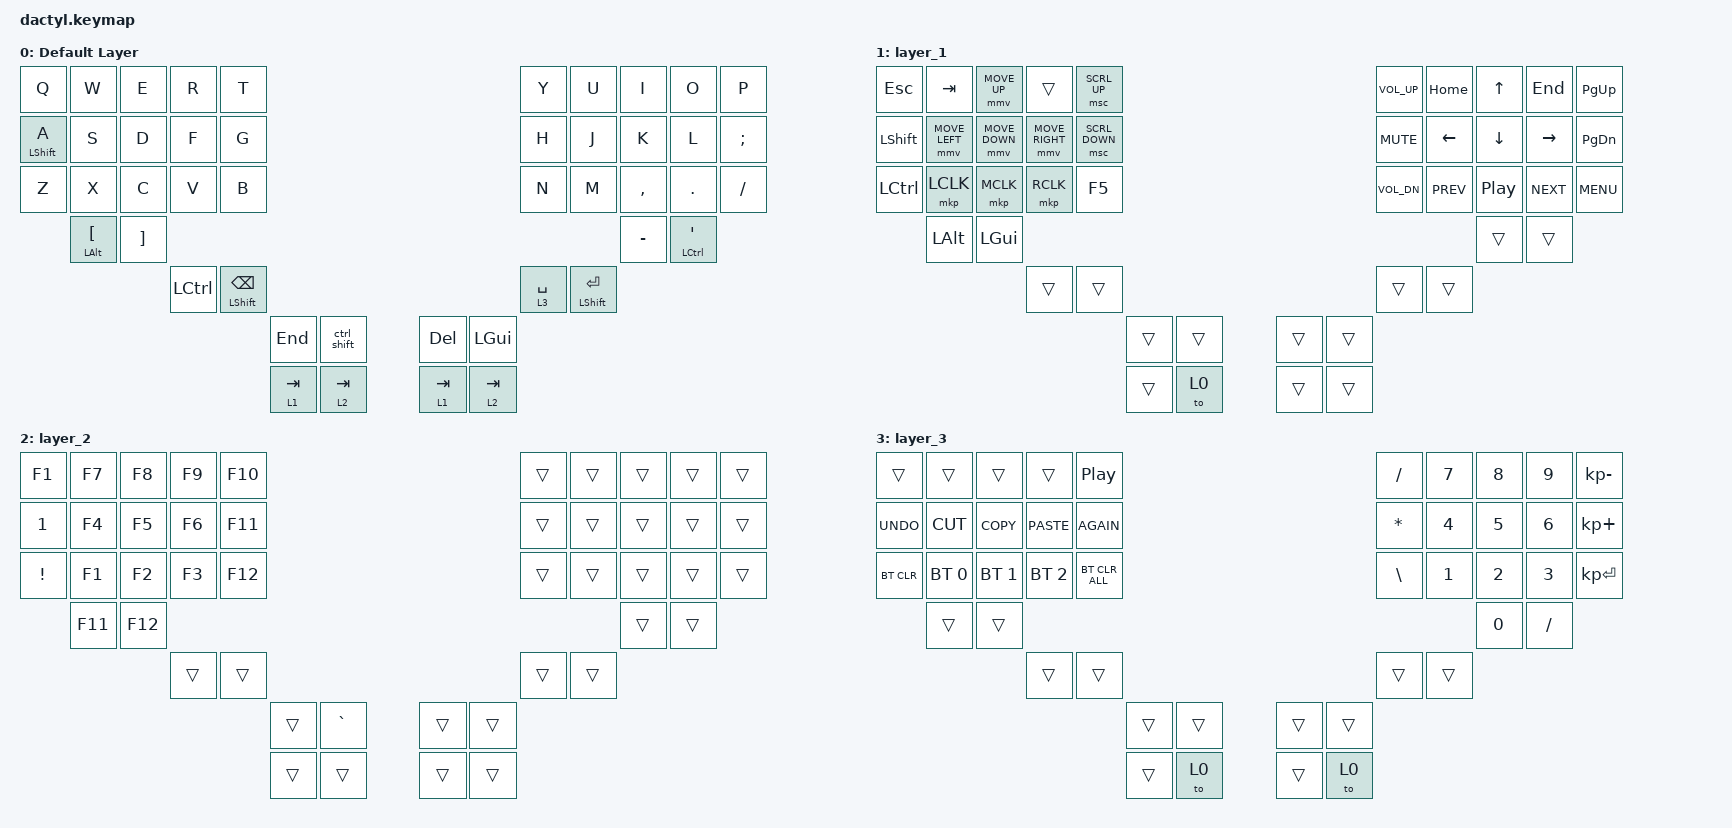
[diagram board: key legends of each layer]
#include <behaviors.dtsi>
#include <dt-bindings/zmk/keys.h>
#include <dt-bindings/zmk/bt.h>
#include <dt-bindings/zmk/mouse.h>
#include <dt-bindings/zmk/pointing.h>

/ {
        keymap {
            compatible = "zmk,keymap";

            default_layer {
                display-name = "Default Layer";						
                 bindings = <
	&kp Q        &kp W        	&kp E        &kp R         &kp T                         		&kp Y        &kp U        &kp I        &kp O        &kp P
    &mt LSHIFT A &kp S        	&kp D        &kp F         &kp G                         		&kp H        &kp J        &kp K        &kp L        &kp SEMI
    &kp Z        &kp X        	&kp C        &kp V         &kp B                         		&kp N        &kp M        &kp COMMA    &kp DOT      &kp FSLH	
				 &mt LALT LBKT 	&kp RBKT  	 &kp LCTRL     &mt LSHIFT BSPC  			 		&lt 3 SPACE  &mt LSHIFT RET 	&kp MINUS 	&mt LCTRL SQT
				 &lt 2 TAB 		&ctrl_shift  &lt 1 TAB    &kp END						 		&kp DEL 	  &lt 1 TAB 		&kp LGUI 	&lt 2 TAB
                        >;
                };
            layer_1 {
				display-name = "layer_1";
				bindings = <
	&kp ESC         &kp TAB         &mmv MOVE_UP    &trans           &msc SCRL_UP		   		&kp C_VOL_UP  &kp HOME    &kp UP            &kp END     &kp PAGE_UP
	&kp LEFT_SHIFT  &mmv MOVE_LEFT  &mmv MOVE_DOWN  &mmv MOVE_RIGHT  &msc SCRL_DOWN  			&kp C_MUTE    &kp LEFT    &kp DOWN          &kp RIGHT   &kp PAGE_DOWN
	&kp LCTRL       &mkp LCLK       &mkp MCLK       &mkp RCLK        &kp F5  					&kp C_VOL_DN  &kp C_PREV  &kp C_PLAY_PAUSE  &kp C_NEXT  &kp K_MENU	
					&kp LALT        &kp LGUI		&trans           &trans  				    &trans        &trans      &trans         	&trans
					&to 0           &trans 			&trans           &trans				   	   	&trans		  &trans	  &trans			&trans
						>;    
                };

            layer_2 {
				display-name = "layer_2";
				bindings = <
	&kp F1           &kp F7       &kp F8     &kp F9      &kp F10 								&trans     &trans         &trans                &trans                &trans
	&kp N1           &kp F4       &kp F5     &kp F6      &kp F11  								&trans     &trans         &trans                &trans                &trans
	&kp EXCL		 &kp F1       &kp F2     &kp F3      &kp F12  								&trans     &trans         &trans                &trans                &trans
					 &kp F11      &kp F12    &trans      &trans									&trans     &trans    	  &trans                &trans
					 &trans       &kp GRAVE	 &trans      &trans									&trans     &trans	  	  &trans        		&trans
						        	      	
						>;    
                };
				
			layer_3 {
				display-name = "layer_3";
				bindings = <
	&trans      &trans        &trans        &trans        &kp C_PLAY_PAUSE						&kp FSLH      &kp N7  &kp N8  &kp N9    &kp KP_SUBTRACT
	&kp K_UNDO  &kp K_CUT     &kp K_COPY    &kp K_PASTE   &kp K_AGAIN    						&kp ASTERISK  &kp N4  &kp N5  &kp N6    &kp KP_PLUS
	&bt BT_CLR  &bt BT_SEL 0  &bt BT_SEL 1  &bt BT_SEL 2  &bt BT_CLR_ALL  						&kp BSLH      &kp N1  &kp N2  &kp N3    &kp KP_ENTER
				&trans        &trans        &trans        &trans								&trans        &trans  &kp N0  &kp FSLH 
				&to 0         &trans        &trans        &trans								&trans        &trans  &trans  &to 0
            >;
			};
			extra1 {
				status = "reserved";
			};
        };
		
		macros {
        comm: comm {
            compatible = "zmk,behavior-macro";
            #binding-cells = <0>;
            bindings = <&kp SLASH &kp ASTERISK &kp ASTERISK &kp RS(ENTER)>;
            label = "MACRO_comment";
        };
		ctrl_shift: ctrl_shift {
            compatible = "zmk,behavior-macro";
            #binding-cells = <0>;
            bindings = <&kp LCTRL &kp LSHIFT>;
            label = "MACRO_CTRL_SHIFT";
        };
	};
};
